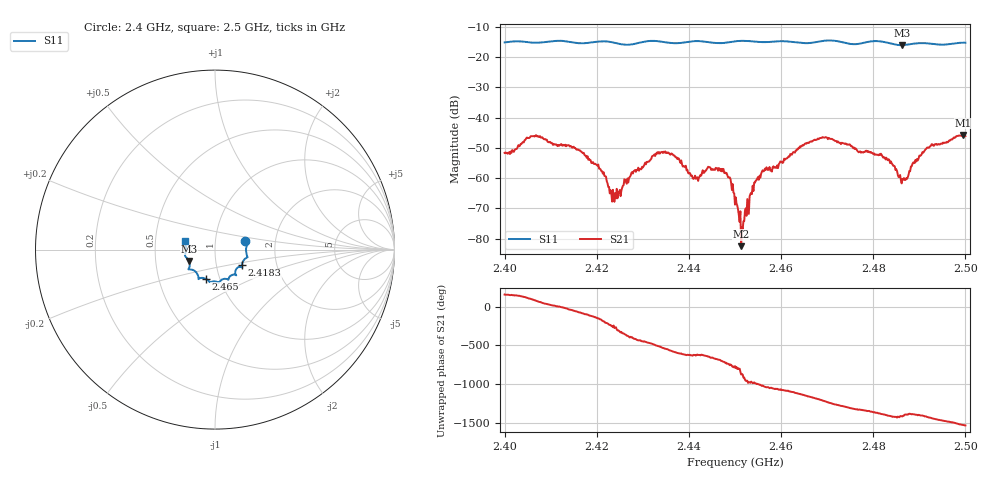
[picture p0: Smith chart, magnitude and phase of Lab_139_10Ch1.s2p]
# Hz S RI R 50
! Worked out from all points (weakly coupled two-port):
!   601 points, 2.4 GHz to 2.5 GHz, reference 50 ohm
!   highest |S21| = -45.72 dB at 2.4995 GHz (marker M1); lowest = -82.5 dB at 2.4513 GHz (marker M2)
!   lowest |S11| = -16.0 dB at 2.4862 GHz (marker M3), VSWR 1.37, Z = 37.1 - j4.82 ohm
!   |S11| at or under -10 dB: start of sweep to end of sweep
!   S12 and S22 are empty: the file has one direction only
!   S11 on the Smith chart (normalised r, x): 2.4 GHz: 1.40, +0.13; 2.4183 GHz: 1.33, -0.24; 2.465 GHz: 0.86, -0.29; 2.5 GHz: 0.71, +0.07
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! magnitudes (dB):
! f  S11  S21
! 2.4 GHz  -15.1  -51.6
! 2.4063 GHz  -15.2  -46.1
! 2.4167 GHz  -15.4  -51.3
! 2.4183 GHz  -15.2  -53.6
! 2.4215 GHz  -14.8  -58.1
! 2.4237 GHz  -15.2  -66.5
! 2.4333 GHz  -14.7  -51.8
! 2.4367 GHz  -15.4  -52.5
! 2.4415 GHz  -14.7  -60.2
! 2.447 GHz  -15.4  -56.9
! 2.4487 GHz  -15.1  -59.8
! 2.45 GHz  -14.8  -68.7
! 2.4513 GHz  -14.6  -82.5
! 2.4543 GHz  -14.9  -61.4
! 2.4562 GHz  -15.0  -57.8
! 2.465 GHz  -15.4  -48.9
! 2.4667 GHz  -15.3  -47.9
! 2.4833 GHz  -15.3  -53.7
! 2.4862 GHz  -16.0  -61.7
! 2.4922 GHz  -15.5  -49.9
! 2.4995 GHz  -15.2  -45.7
! 2.5 GHz  -15.2  -46.1
